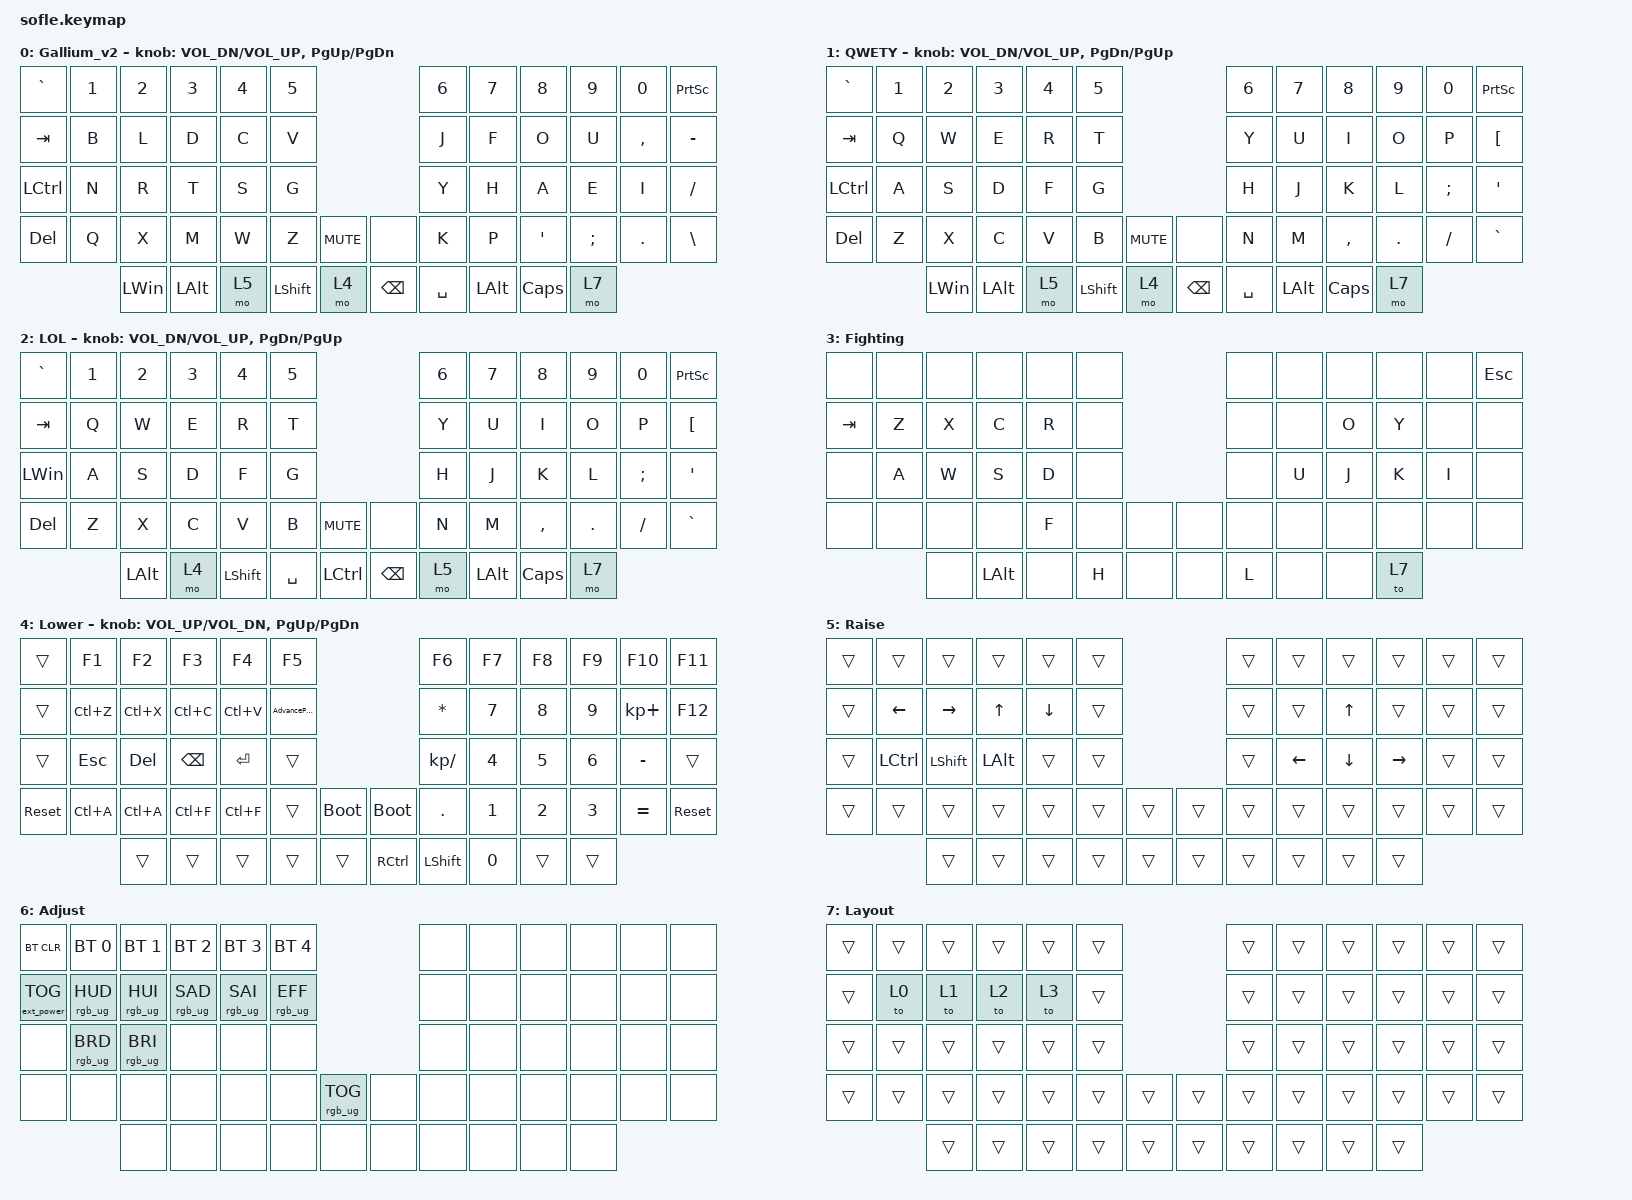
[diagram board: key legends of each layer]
/*
 * Copyright (c) 2020 The ZMK Contributors
 *
 * SPDX-License-Identifier: MIT
 */

#include <behaviors.dtsi>
#include <dt-bindings/zmk/bt.h>
#include <dt-bindings/zmk/ext_power.h>
#include <dt-bindings/zmk/keys.h>
#include <dt-bindings/zmk/rgb.h>

#define BASE 0
#define LOWER 1
#define RAISE 2
#define ADJUST 3

/ {
    // Activate ADJUST layer by pressing raise and lower

    conditional_layers {
        compatible = "zmk,conditional-layers";

        adjust_layer {
            if-layers = <4 5>;
            then-layer = <6>;
        };
    };

    combos { compatible = "zmk,combos"; };

    behaviors {
        home_row_mod_left: home_row_mod_left {
            compatible = "zmk,behavior-hold-tap";
            label = "HOME_ROW_MOD_LEFT";
            bindings = <&kp>, <&kp>;

            #binding-cells = <2>;
            tapping-term-ms = <200>;
            quick-tap-ms = <100>;
            require-prior-idle-ms = <100>;
            flavor = "balanced";
            hold-trigger-on-release;
            hold-trigger-key-positions = <18 19 20 21 30 31 32 33 34 44 45 46 47 48 22 23 35 49>;
        };

        home_row_mod_right: home_row_mod_right {
            compatible = "zmk,behavior-hold-tap";
            label = "HOME_ROW_MOD_RIGHT";
            bindings = <&kp>, <&kp>;

            #binding-cells = <2>;
            tapping-term-ms = <200>;
            quick-tap-ms = <100>;
            require-prior-idle-ms = <100>;
            flavor = "balanced";
            hold-trigger-on-release;
            hold-trigger-key-positions = <12 13 14 16 17 24 25 26 27 28 29 36 37 38 39 40 41 15>;
        };

        layer_kp: layer_kp {
            compatible = "zmk,behavior-hold-tap";
            label = "LAYER_KP";
            bindings = <&mo>, <&kp>;

            #binding-cells = <2>;
            tapping-term-ms = <150>;
            flavor = "balanced";
            hold-trigger-on-release;
            hold-while-undecided;
            hold-while-undecided-linger;
            retro-tap;
        };

        tog_layer_kp: tog_layer_kp {
            compatible = "zmk,behavior-hold-tap";
            label = "TOG_LAYER_KP";
            bindings = <&kp>, <&tog>;

            #binding-cells = <2>;
            tapping-term-ms = <150>;
        };
    };

    macros {
        AdvancePaste: AdvancePaste {
            compatible = "zmk,behavior-macro";
            #binding-cells = <0>;
            bindings =
                <&kp LS(LG(V))>,
                <&macro_wait_time 800>,
                <&kp LEFT_GUI>,
                <&macro_wait_time 800>,
                <&kp LEFT_GUI>,
                <&macro_wait_time 800>,
                <&kp LEFT_SHIFT>;

            label = "ADVANCEPASTE";
        };
    };

    keymap {
        compatible = "zmk,keymap";

        Gallium_v2_layer {
            label = "Gallium_v2";

            // ------------------------------------------------------------------------------------------------------------
            // |   `   |  1  |  2  |  3   |  4   |  5   |                   |  6   |  7    |  8    |  9   |   0   |       |
            // |  ESC  |  Q  |  W  |  E   |  R   |  T   |                   |  Y   |  U    |  I    |  O   |   P   | BKSPC |
            // |  TAB  |  A  |  S  |  D   |  F   |  G   |                   |  H   |  J    |  K    |  L   |   ;   |   '   |
            // | SHIFT |  Z  |  X  |  C   |  V   |  B   |  MUTE  |  |       |  N   |  M    |  ,    |  .   |   /   | SHIFT |
            //               | GUI | ALT  | CTRL | LOWER|  ENTER |  | SPACE | RAISE| CTRL  | ALT   | GUI  |

            bindings = <
&kp GRAVE  &kp NUMBER_1  &kp NUMBER_2  &kp NUMBER_3  &kp NUMBER_4  &kp N5                                       &kp NUMBER_6  &kp NUMBER_7  &kp NUMBER_8  &kp N9         &kp N0      &kp PRINTSCREEN
&kp TAB    &kp B         &kp L         &kp D         &kp C         &kp V                                        &kp J         &kp F         &kp O         &kp U          &kp COMMA   &kp MINUS
&kp LCTRL  &kp N         &kp R         &kp T         &kp S         &kp G                                        &kp Y         &kp H         &kp A         &kp E          &kp I       &kp SLASH
&kp DEL    &kp Q         &kp X         &kp M         &kp W         &kp Z           &kp C_MUTE    &none          &kp K         &kp P         &kp SQT       &kp SEMICOLON  &kp PERIOD  &kp BACKSLASH
                         &kp LEFT_WIN  &kp LEFT_ALT  &mo 5         &kp LEFT_SHIFT  &mo 4         &kp BACKSPACE  &kp SPACE     &kp LEFT_ALT  &kp CAPS      &mo 7
            >;

            sensor-bindings =
                <&inc_dec_kp C_VOL_DN C_VOL_UP>,
                <&inc_dec_kp PG_UP PG_DN>;
        };

        QWETY_layer {
            bindings = <
&kp GRAVE  &kp N1  &kp N2        &kp N3        &kp N4  &kp N5                                       &kp N6     &kp N7        &kp N8     &kp N9   &kp N0    &kp PRINTSCREEN
&kp TAB    &kp Q   &kp W         &kp E         &kp R   &kp T                                        &kp Y      &kp U         &kp I      &kp O    &kp P     &kp LBKT
&kp LCTRL  &kp A   &kp S         &kp D         &kp F   &kp G                                        &kp H      &kp J         &kp K      &kp L    &kp SEMI  &kp APOS
&kp DEL    &kp Z   &kp X         &kp C         &kp V   &kp B           &kp C_MUTE    &none          &kp N      &kp M         &kp COMMA  &kp DOT  &kp FSLH  &kp GRAVE
                   &kp LEFT_WIN  &kp LEFT_ALT  &mo 5   &kp LEFT_SHIFT  &mo 4         &kp BACKSPACE  &kp SPACE  &kp LEFT_ALT  &kp CAPS   &mo 7
            >;

            label = "QWETY";
            sensor-bindings =
                <&inc_dec_kp C_VOL_DN C_VOL_UP>,
                <&inc_dec_kp PG_DN PG_UP>;
        };

        LOL_layer {
            label = "LOL";
            bindings = <
&kp GRAVE     &kp N1  &kp N2        &kp N3  &kp N4          &kp N5                                  &kp N6  &kp N7        &kp N8     &kp N9   &kp N0    &kp PRINTSCREEN
&kp TAB       &kp Q   &kp W         &kp E   &kp R           &kp T                                   &kp Y   &kp U         &kp I      &kp O    &kp P     &kp LBKT
&kp LEFT_WIN  &kp A   &kp S         &kp D   &kp F           &kp G                                   &kp H   &kp J         &kp K      &kp L    &kp SEMI  &kp APOS
&kp DEL       &kp Z   &kp X         &kp C   &kp V           &kp B      &kp C_MUTE    &none          &kp N   &kp M         &kp COMMA  &kp DOT  &kp FSLH  &kp GRAVE
                      &kp LEFT_ALT  &mo 4   &kp LEFT_SHIFT  &kp SPACE  &kp LCTRL     &kp BACKSPACE  &mo 5   &kp LEFT_ALT  &kp CAPS   &mo 7
            >;

            sensor-bindings =
                <&inc_dec_kp C_VOL_DN C_VOL_UP>,
                <&inc_dec_kp PG_DN PG_UP>;
        };

        Fighting_layer {
            bindings = <
&none    &none  &none  &none     &none  &none                  &none  &none  &none  &none  &none  &kp ESC
&kp TAB  &kp Z  &kp X  &kp C     &kp R  &none                  &none  &none  &kp O  &kp Y  &none  &none
&none    &kp A  &kp W  &kp S     &kp D  &none                  &none  &kp U  &kp J  &kp K  &kp I  &none
&none    &none  &none  &none     &kp F  &none  &none    &none  &none  &none  &none  &none  &none  &none
                &none  &kp LALT  &none  &kp H  &none    &none  &kp L  &none  &none  &to 7
            >;

            label = "Fighting";
        };

        Lower_layer {
            label = "Lower";

            // TODO: Some binds are waiting for shifted keycode support.
            // ------------------------------------------------------------------------------------------------------------
            // |       |  F1 |  F2 |  F3  |  F4  |  F5  |                   |  F6  |  F7   |  F8   |  F9  |  F10  |  F11  |
            // |   `   |  1  |  2  |  3   |  4   |  5   |                   |  6   |  7    |  8    |  9   |   0   |  F12  |
            // |       |  !  |  @  |  #   |  $   |  %   |                   |  ^   |  &    |  *    |  (   |   )   |   |   |
            // |       |  =  |  -  |  +   |  {   |  }   |        |  |       |  [   |  ]    |  ;    |  :   |   \   |       |
            //               |     |      |      |      |        |  |       |      |       |       |      |

            bindings = <
&trans      &kp F1      &kp F2     &kp F3         &kp F4     &kp F5                                     &kp F6          &kp F7        &kp F8  &kp F9  &kp F10      &kp F11
&trans      &kp LC(Z)   &kp LC(X)  &kp LC(C)      &kp LC(V)  &AdvancePaste                              &kp ASTERISK    &kp N7        &kp N8  &kp N9  &kp KP_PLUS  &kp F12
&trans      &kp ESCAPE  &kp DEL    &kp BACKSPACE  &kp ENTER  &trans                                     &kp KP_DIVIDE   &kp N4        &kp N5  &kp N6  &kp MINUS    &trans
&sys_reset  &kp LC(A)   &kp LC(A)  &kp LC(F)      &kp LC(F)  &trans         &bootloader    &bootloader  &kp DOT         &kp NUMBER_1  &kp N2  &kp N3  &kp EQUAL    &sys_reset
                        &trans     &trans         &trans     &trans         &trans         &kp RCTRL    &kp LEFT_SHIFT  &kp NUMBER_0  &trans  &trans
            >;

            sensor-bindings = <&inc_dec_kp C_VOL_UP C_VOL_DN &inc_dec_kp PG_UP PG_DN>;
        };

        Raise_layer {
            bindings = <
&trans  &trans     &trans          &trans        &trans    &trans                    &trans  &trans    &trans    &trans     &trans  &trans
&trans  &kp LEFT   &kp RIGHT       &kp UP        &kp DOWN  &trans                    &trans  &trans    &kp UP    &trans     &trans  &trans
&trans  &kp LCTRL  &kp LEFT_SHIFT  &kp LEFT_ALT  &trans    &trans                    &trans  &kp LEFT  &kp DOWN  &kp RIGHT  &trans  &trans
&trans  &trans     &trans          &trans        &trans    &trans  &trans    &trans  &trans  &trans    &trans    &trans     &trans  &trans
                   &trans          &trans        &trans    &trans  &trans    &trans  &trans  &trans    &trans    &trans
            >;

            label = "Raise";
        };

        Adjust_layer {
            // ----------------------------------------------------------------------------------------------------------------------------
            // | BTCLR  |  BT1    |  BT2    |   BT3   |   BT4   |   BT5   |                  |      |      |       |      |       |       |
            // | EXTPWR | RGB_HUD | RGB_HUI | RGB_SAD | RGB_SAI | RGB_EFF |                  |      |      |       |      |       |       |
            // |        | RGB_BRD | RGB_BRI |         |         |         |                  |      |      |       |      |       |       |
            // |        |         |         |         |         |         | RGB_TOG | |      |      |      |       |      |       |       |
            //                    |         |         |         |         |         | |      |      |      |       |      |

            label = "Adjust";
            bindings = <
&bt BT_CLR         &bt BT_SEL 0     &bt BT_SEL 1     &bt BT_SEL 2     &bt BT_SEL 3     &bt BT_SEL 4                               &none  &none  &none  &none  &none  &none
&ext_power EP_TOG  &rgb_ug RGB_HUD  &rgb_ug RGB_HUI  &rgb_ug RGB_SAD  &rgb_ug RGB_SAI  &rgb_ug RGB_EFF                            &none  &none  &none  &none  &none  &none
&none              &rgb_ug RGB_BRD  &rgb_ug RGB_BRI  &none            &none            &none                                      &none  &none  &none  &none  &none  &none
&none              &none            &none            &none            &none            &none            &rgb_ug RGB_TOG    &none  &none  &none  &none  &none  &none  &none
                                    &none            &none            &none            &none            &none              &none  &none  &none  &none  &none
            >;
        };

        Layout_layer {
            bindings = <
&trans  &trans  &trans  &trans  &trans  &trans                    &trans  &trans  &trans  &trans  &trans  &trans
&trans  &to 0   &to 1   &to 2   &to 3   &trans                    &trans  &trans  &trans  &trans  &trans  &trans
&trans  &trans  &trans  &trans  &trans  &trans                    &trans  &trans  &trans  &trans  &trans  &trans
&trans  &trans  &trans  &trans  &trans  &trans  &trans    &trans  &trans  &trans  &trans  &trans  &trans  &trans
                &trans  &trans  &trans  &trans  &trans    &trans  &trans  &trans  &trans  &trans
            >;

            label = "Layout";
        };
    };
};
